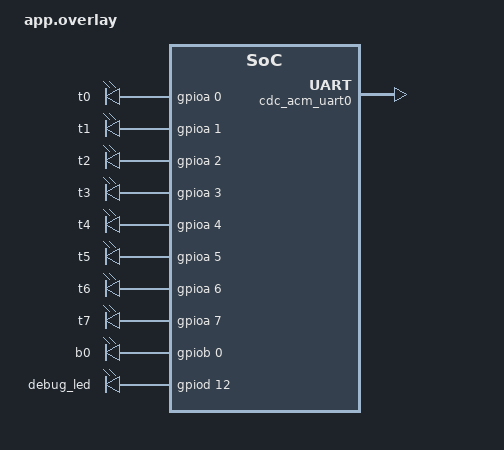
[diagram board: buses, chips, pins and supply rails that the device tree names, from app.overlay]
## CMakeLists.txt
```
cmake_minimum_required(VERSION 3.20.0)

set(BOARD stm32f4_disco)
set(CONF_FILE prj.conf)
find_package(Zephyr)
project(my_zephyr_app)

target_sources(app PRIVATE 
src/main.c 
src/gpio.c
src/task_main.c
src/scheduler.c
src/scheduler_impl.c
src/usb.c
)
```

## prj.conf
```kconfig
CONFIG_CONSOLE=y
CONFIG_PRINTK=y
CONFIG_I2C=y
CONFIG_LOG=y
CONFIG_I2S=y
CONFIG_ADC=y
CONFIG_NEWLIB_LIBC=y
CONFIG_STDOUT_CONSOLE=y
CONFIG_USB_DEVICE_STACK=y
CONFIG_USB_DEVICE_PRODUCT="Zephyr CDC ACM sample"
CONFIG_USB_DEVICE_PID=0x0001
CONFIG_USB_DRIVER_LOG_LEVEL_ERR=y
CONFIG_USB_DEVICE_LOG_LEVEL_ERR=y
CONFIG_SERIAL=y
CONFIG_UART_INTERRUPT_DRIVEN=y
CONFIG_UART_LINE_CTRL=y
```

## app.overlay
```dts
/ {
    leds {
		compatible = "gpio-leds";
		t0: led_0 {
			gpios = <&gpioa 0 GPIO_ACTIVE_HIGH>;
		};
        t1: led_1 {
			gpios = <&gpioa 1 GPIO_ACTIVE_HIGH>;
		};
        t2: led_2 {
			gpios = <&gpioa 2 GPIO_ACTIVE_HIGH>;
		};
		t3: led_3 {
			gpios = <&gpioa 3 GPIO_ACTIVE_HIGH>;
		};
		t4: led_4 {
			gpios = <&gpioa 4 GPIO_ACTIVE_HIGH>;
		};
		t5: led_5 {
			gpios = <&gpioa 5 GPIO_ACTIVE_HIGH>;
		};
		t6: led_6 {
			gpios = <&gpioa 6 GPIO_ACTIVE_HIGH>;
		};
		t7: led_7 {
			gpios = <&gpioa 7 GPIO_ACTIVE_HIGH>;
		};
		b0: led_8 {
            gpios = <&gpiob 0 GPIO_ACTIVE_HIGH>;
        };
		debug_led: led_9 {
            gpios = <&gpiod 12 GPIO_ACTIVE_HIGH>;
        };
	};

    aliases {
        a0 = &t0;
        a1 = &t1;
        a2 = &t2;
		a3 = &t3;
		a4 = &t4;
		a5 = &t5;
		a6 = &t6;
		a7 = &t7;
		b0 = &b0;
		debug-led = &debug_led;
    };
};

&zephyr_udc0 {
	cdc_acm_uart0 {
		compatible = "zephyr,cdc-acm-uart";
	};
};
```

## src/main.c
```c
/*
 * Copyright (c) 2016 Intel Corporation
 *
 * SPDX-License-Identifier: Apache-2.0
 */

#include <zephyr/kernel.h>
#include "gpio.h"
#include "task_main.h"
#include "scheduler_impl.h"
#include "scheduler.h"
#include "usb.h"

int main() {
    init_pins();

    // The provided task set:
    Task tasks[] = {
            spawn_task(4, 20, &a0),
            spawn_task(10, 40, &a1),
            spawn_task(33, 60, &a2),
    };
    run_scheduler(tasks, sizeof(tasks) / sizeof(tasks[0]));

    k_thread_suspend(k_current_get());

    return 0;
}
```

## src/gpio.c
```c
#include <stdbool.h>
#include <zephyr/drivers/gpio.h>
#include <zephyr/logging/log.h>

const struct gpio_dt_spec debug_led = GPIO_DT_SPEC_GET(DT_ALIAS(debug_led), gpios);
const struct gpio_dt_spec a0 = GPIO_DT_SPEC_GET(DT_ALIAS(a0), gpios);
const struct gpio_dt_spec a1 = GPIO_DT_SPEC_GET(DT_ALIAS(a1), gpios);
const struct gpio_dt_spec a2 = GPIO_DT_SPEC_GET(DT_ALIAS(a2), gpios);
const struct gpio_dt_spec a3 = GPIO_DT_SPEC_GET(DT_ALIAS(a3), gpios);
const struct gpio_dt_spec a4 = GPIO_DT_SPEC_GET(DT_ALIAS(a4), gpios);
const struct gpio_dt_spec a5 = GPIO_DT_SPEC_GET(DT_ALIAS(a5), gpios);
const struct gpio_dt_spec a6 = GPIO_DT_SPEC_GET(DT_ALIAS(a6), gpios);
const struct gpio_dt_spec a7 = GPIO_DT_SPEC_GET(DT_ALIAS(a7), gpios);
const struct gpio_dt_spec b0 = GPIO_DT_SPEC_GET(DT_ALIAS(b0), gpios);
const struct gpio_dt_spec *as[] = {&a0, &a1, &a2, &a3, &a4, &a5, &a6, &a7};

int init_pins() {
    init_pin(&debug_led);
    init_pin(&b0);
    for (int i = 0; i < 8; i++) {
        init_pin(as[i]);
    }
    return 0;
}

int init_pin(const struct gpio_dt_spec *pin) {
    if (!gpio_is_ready_dt(pin)) {
        printk("GPIO pin was not ready");
        return -1;
    }

    gpio_pin_configure_dt(pin, GPIO_OUTPUT_ACTIVE);
    gpio_pin_set_dt(pin, false);
    return 0;
}

/// @brief Sets the pin to high
/// @param pin the gpio pin to set.
/// @return 0
int set_pin(const struct gpio_dt_spec *pin) {
    gpio_pin_set_dt(pin, true);
    return 0;
}

/// @brief Sets the pin to low
/// @param pin the gpio pin to unset
/// @return 0
int unset_pin(const struct gpio_dt_spec *pin) {
    gpio_pin_set_dt(pin, false);
    return 0;
}

/// @brief resets all pins to low.
void reset_as() {
    // Set pins correctly
    for (int i = 0; i < sizeof(as) / sizeof(as[0]); i++) {
        unset_pin(as[i]);
    }
}
```

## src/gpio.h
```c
#include <zephyr/drivers/gpio.h>

int init_pins();

int init_pin(const struct gpio_dt_spec *pin);

int set_pin(const struct gpio_dt_spec *pin);

int unset_pin(const struct gpio_dt_spec *pin);

void reset_as();

extern const struct gpio_dt_spec debug_led;
extern const struct gpio_dt_spec a0;
extern const struct gpio_dt_spec a1;
extern const struct gpio_dt_spec a2;
extern const struct gpio_dt_spec a3;
extern const struct gpio_dt_spec a4;
extern const struct gpio_dt_spec a5;
extern const struct gpio_dt_spec a6;
extern const struct gpio_dt_spec a7;
extern const struct gpio_dt_spec b0;
extern const struct gpio_dt_spec *as[8];
```

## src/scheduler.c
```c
#include "scheduler_impl.h"
#include <zephyr/kernel.h>
#include "stdbool.h"
#include "gpio.h"
#include "usb.h"

// Index to indicate which task in the tasks array is active.
static int current_task = 0;

/// This is a very simple scheduler that demonstrates how the provided APIs can be used.
/// The function should call `set_active_task` to select which task should be running.
/// Then, it should return a sleep time in milliseconds, when the scheduler should next be executed.
k_timeout_t example(Task *tasks, int n, bool finished) {
    set_active_task(&tasks[current_task]);
    current_task = (current_task + 1) % n;
    return K_FOREVER;
}

static int start_time = -1;

/// In this function you should write a rate monotonic scheduler.
/// Read the description of the `schedule` function below to read about the properties of this function.
k_timeout_t rate_monotonic(Task *tasks, int n, bool finished) {
    int i;
    int current_time = k_uptime_get();
    // You can initialize the new fields of your tasks here. This only runs the first time.
    if (start_time == -1) {
        start_time = current_time;
        i = 0;
        while (i <= n - 1) {
            tasks[i].next_arrival_time = start_time + tasks[i].period;
            tasks[i].is_finished = false;
            i = i + 1;
        }
    } else if (finished == true && tasks[current_task].next_arrival_time > current_time) {
        tasks[current_task].is_finished = true;
    } else if (finished == true && tasks[current_task].next_arrival_time <= current_time){
        tasks[current_task].next_arrival_time = tasks[current_task].next_arrival_time + tasks[current_task].period;
    }

    i = 0;
    while (i <= n - 1) {
        if (tasks[i].next_arrival_time <= current_time && tasks[i].is_finished == true) {
            tasks[i].next_arrival_time = tasks[i].next_arrival_time + tasks[i].period;
            tasks[i].is_finished = false;
        }
        i = i + 1;
    }

    // select the task with the least period
    int least_period = INT_MAX;
    int temp_task = -1;
    i = 0;
    while (i <= n - 1) {
        if (tasks[i].period <= least_period && tasks[i].is_finished == false) {
            least_period = tasks[i].period;
            temp_task = i;
        }
        i = i + 1;
    }

    i = 0;
    int scheduler_next_awake = INT_MAX;
    while (i <= n - 1) {
        if (temp_task == -1) {
            if (tasks[i].next_arrival_time < scheduler_next_awake) {
                scheduler_next_awake = tasks[i].next_arrival_time;
            }
        } else {
            if (tasks[i].next_arrival_time < scheduler_next_awake && tasks[i].period < tasks[temp_task].period) {
                scheduler_next_awake = tasks[i].next_arrival_time;
            }
        }
        i = i + 1;
    }

    if (temp_task != -1) {
        current_task = temp_task;
        set_active_task(&tasks[current_task]);
    } else {
        set_idle();
    }

    return K_MSEC(scheduler_next_awake - current_time);
}

/// In this function you should write an earliest deadline first scheduler.
/// Read the description of the `schedule` function below to read about the properties of this function.
k_timeout_t earliest_deadline_first(Task *tasks, int n, bool finished) {
    int i;
    int current_time = k_uptime_get();
    // You can initialize the new fields of your tasks here. This only runs the first time.
    if (start_time == -1) {
        start_time = current_time;
        i = 0;
        while (i <= n - 1) {
            tasks[i].next_arrival_time = start_time + tasks[i].period;
            tasks[i].is_finished = false;
            i = i + 1;
        }
    } else if (finished == true && tasks[current_task].next_arrival_time > current_time) {
        tasks[current_task].is_finished = true;
    } else if (finished == true && tasks[current_task].next_arrival_time <= current_time) {
        tasks[current_task].next_arrival_time = tasks[current_task].next_arrival_time + tasks[current_task].period;
    }

    i = 0;
    while (i <= n - 1) {
        if (tasks[i].next_arrival_time <= current_time && tasks[i].is_finished == true) {
            tasks[i].next_arrival_time = tasks[i].next_arrival_time + tasks[i].period;
            tasks[i].is_finished = false;
        }
        i = i + 1;
    }

    // select the task with the least period
    int earliest_deadline = INT_MAX;
    int temp_task = -1;
    i = 0;
    while (i <= n - 1) {
        if (tasks[i].next_arrival_time <= earliest_deadline && tasks[i].is_finished == false) {
            earliest_deadline = tasks[i].next_arrival_time;
            temp_task = i;
        }
        i = i + 1;
    }

    i = 0;
    int scheduler_next_awake = INT_MAX;
    while (i <= n - 1) {
        if (temp_task == -1) {
            if (tasks[i].next_arrival_time < scheduler_next_awake) {
                scheduler_next_awake = tasks[i].next_arrival_time;
            }
        } else {
            if (tasks[i].next_arrival_time < scheduler_next_awake &&
                tasks[i].next_arrival_time + tasks[i].period < tasks[temp_task].next_arrival_time) {
                scheduler_next_awake = tasks[i].next_arrival_time;
            }
        }
        i = i + 1;
    }

    if (temp_task != -1) {
        current_task = temp_task;
        set_active_task(&tasks[current_task]);
    } else {
        set_idle();
    }

    return K_MSEC(scheduler_next_awake - current_time);
}

/// @brief This function can be used to choose which scheduler should be used.
///        This function is invoked when a task is finished or when the scheduler sleep timer has ended.
///        The sleep time is the duration of the timeout which the function returns (see the `\@return` for more information).
///        The called scheduler function should set the next task by calling `set_active_task` or call `set_idle` when there are no pending tasks.
/// @param tasks an array of tasks containing the full task set to schedule.
/// @param n the amount of tasks.
/// @param finished states whether the scheduler was called because a task was finished (true)
///                 or because the scheduler sleep timer expired (false).
/// @return The delay for which the scheduler thread should sleep.
///         You should make the scheduler sleep until a higher priority task is ready (preemption of the current running task)
///         or until there is a task ready to be scheduled when there were no tasks pending.
///         You must calculate this delay and return a k_timeout_t value containing this delay. Learn more about this here: 
///         https://docs.zephyrproject.org/latest/kernel/services/timing/clocks.html. Some of the functions/macros that you might find useful are
///         `K_MSEC`, `K_USEC`, `sys_timepoint_calc` and `sys_timepoint_timeout`.
k_timeout_t schedule(Task *tasks, int n, bool finished) {
    return earliest_deadline_first(tasks, n, finished);
}
```

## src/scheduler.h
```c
k_timeout_t schedule(Task *t, int n, bool finished);
```

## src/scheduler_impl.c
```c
#include <zephyr/kernel.h>
#include <zephyr/logging/log.h>
#include <zephyr/drivers/gpio.h>
#include <zephyr/kernel/thread.h>
#include "gpio.h"
#include "task_main.h"
#include "scheduler_impl.h"
#include "scheduler.h"
#include "stdbool.h"

#define STACK_SIZE 512
#define MAX_THREADS 8

static int thread_counter = 0;
int scheduler_thread = 0;

K_THREAD_STACK_DEFINE(stack0, STACK_SIZE);
K_THREAD_STACK_DEFINE(stack1, STACK_SIZE);
K_THREAD_STACK_DEFINE(stack2, STACK_SIZE);
K_THREAD_STACK_DEFINE(stack3, STACK_SIZE);
K_THREAD_STACK_DEFINE(stack4, STACK_SIZE);
K_THREAD_STACK_DEFINE(stack5, STACK_SIZE);
K_THREAD_STACK_DEFINE(stack6, STACK_SIZE);
K_THREAD_STACK_DEFINE(stack7, STACK_SIZE);

k_thread_stack_t *stacks[MAX_THREADS] = {&stack0, &stack1, &stack2, &stack3, &stack4, &stack5, &stack6, &stack7};
struct k_thread kts[MAX_THREADS];

/// @brief Creates a new instance of a `Task` struct.
/// @param execution_time the execution time in milliseconds
/// @param period the period of the task in milliseconds
/// @param pin the gpio pin assigned to this task, suitable pins can be found in gpio.h
/// @return The created task struct.
Task spawn_task(int execution_time, int period, const struct gpio_dt_spec *pin) {
    Task task;

    task.execution_time = execution_time;
    task.period = period;

    if (thread_counter == MAX_THREADS) {
        printk("Spawned too many threads!");
        return;
    }
    k_thread_stack_t *stack = stacks[thread_counter];
    struct k_thread *thread = &kts[thread_counter];

    k_tid_t tid = k_thread_create(thread, stack, STACK_SIZE, (void *) task_main, (void *) pin, execution_time, 0, 5, 0,
                                  K_NO_WAIT);
    task.task_id = tid;

    thread_counter++;

    k_thread_suspend(tid);

    return task;
}

static k_tid_t current_task = NULL;

/// @brief Dispatches the given task once the scheduler thread suspends. 
///        It suspends the thread of the task running before.
/// @param task The task to be dispatched.
void set_active_task(Task *task) {
    if (current_task != NULL) {
        k_thread_suspend(current_task);
    }
    current_task = task->task_id;
    k_thread_resume(current_task);
}

/// @brief Idles the system.
void set_idle() {
    if (current_task != NULL) {
        k_thread_suspend(current_task);
    }
    current_task = NULL;
}

/// @brief Run the scheduling algorithm on the given tasks.
/// @param tasks The task set to be scheduled as a fixed size array.
/// @param n The number of tasks.
void run_scheduler(Task *tasks, int n) {
    scheduler_thread = k_current_get();
    bool finished = false;
    while (true) {
        reset_as();
        k_timeout_t sleep = schedule(tasks, n, finished);
        finished = k_sleep(sleep) != 0;
    }
}
```

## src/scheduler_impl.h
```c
#include <zephyr/kernel.h>
#include <zephyr/kernel/thread.h>
#include <zephyr/drivers/gpio.h>

extern int scheduler_thread;

/// This represents a Task and all additional information necessary to schedule the task.
typedef struct {
    /// The id assigned to this task by Zephyr. Used internally by `set_active_task`.
    k_tid_t task_id;
    /// The maximal time the task will take to execute in ms.
    int execution_time;
    /// The scheduler should aim to execute this task every `period` ms.
    int period;

    /// Self defined fields
    /// The timestamp of the next arrival time of this task
    int next_arrival_time;
    /// if the task is finished
    bool is_finished;
} Task;

Task spawn_task(int execution_time, int period, const struct gpio_dt_spec *pin);

void set_active_task(Task *task);

void set_idle();

void run_scheduler(Task *tasks, int n);
```

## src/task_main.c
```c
#include <zephyr/kernel.h>
#include <zephyr/drivers/gpio.h>
#include "gpio.h"
#include "scheduler_impl.h"

/// @brief The function the task executes, it set the pin high until it has exceeded its execution time, after which it will invoke the scheduler again.
/// In a realistic situation this function would execute application code and different tasks would execute different code.
/// @param pin The pin to set to high during the task execution.
/// @param execution_time The duration of the task execution.
void task_main(const struct gpio_dt_spec *pin, int execution_time) {
    while(true) {
        int64_t target = k_uptime_get() + execution_time;
        int64_t last = k_uptime_get();
        while (true) {
            // Set leds correctly
            set_pin(pin);

            int64_t current = k_uptime_get();

            // Task was preempted, we don't count this as execution time
            if (current - last > 1) {
                target += (current - last);
            }
            last = current;

            // If this task finished, break the loop
            if (current >= target) {
                break;
            }
        }

        unset_pin(pin);
        k_wakeup(scheduler_thread);
    }
}
```

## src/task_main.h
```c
#include <zephyr/drivers/gpio.h>

void task_main(const struct gpio_dt_spec *pin, int execution_time);
```

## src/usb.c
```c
#include <stdio.h>
#include <stdint.h>
#include <string.h>
#include <stddef.h>
#include <zephyr/device.h>
#include <zephyr/drivers/uart.h>
#include <zephyr/kernel.h>
#include <zephyr/sys/ring_buffer.h>

#include <zephyr/usb/usb_device.h>
#include <zephyr/usb/usbd.h>
#include <zephyr/logging/log.h>

#include <stdarg.h>

LOG_MODULE_REGISTER(cdc_acm_echo, LOG_LEVEL_INF);

#define RING_BUF_SIZE 1024
uint8_t ring_buffer_rx[RING_BUF_SIZE];
struct ring_buf ringbuf_rx;

#define RING_BUF_SIZE 1024
uint8_t ring_buffer_tx[RING_BUF_SIZE];
struct ring_buf ringbuf_tx;

static void interrupt_handler(const struct device *dev, void *user_data)
{
    ARG_UNUSED(user_data);

    while (uart_irq_update(dev) && uart_irq_is_pending(dev)) {
        if (uart_irq_rx_ready(dev)) {
            int recv_len, rb_len;
            uint8_t buffer[64];
            size_t len = MIN(ring_buf_space_get(&ringbuf_rx),
                             sizeof(buffer));

            recv_len = uart_fifo_read(dev, buffer, len);
            if (recv_len < 0) {
                printk("Failed to read UART FIFO");
                recv_len = 0;
            };

            rb_len = ring_buf_put(&ringbuf_rx, buffer, recv_len);
            if (rb_len < recv_len) {
                printk("Drop %u bytes", recv_len - rb_len);
            }
        }

        if (uart_irq_tx_ready(dev)) {
            uint8_t buffer[64];
            int rb_len, send_len;

            rb_len = ring_buf_get(&ringbuf_tx, buffer, sizeof(buffer));
            if (!rb_len) {
                printk("Ring buffer empty, disable TX IRQ");
                uart_irq_tx_disable(dev);
                continue;
            }

            send_len = uart_fifo_fill(dev, buffer, rb_len);
            if (send_len < rb_len) {
                printk("Drop %d bytes", rb_len - send_len);
            }
        }
    }
}

const struct device *dev;

int init_usb() {
    int ret;

    dev = DEVICE_DT_GET_ONE(zephyr_cdc_acm_uart);
    if (!device_is_ready(dev)) {
        printk("CDC ACM device not ready");
        return -1;
    }

    ret = usb_enable(NULL);

    if (ret != 0) {
        printk("Failed to enable USB");
        return -1;
    }

    ring_buf_init(&ringbuf_tx, sizeof(ring_buffer_tx), ring_buffer_tx);
    ring_buf_init(&ringbuf_rx, sizeof(ring_buffer_rx), ring_buffer_rx);

    uart_irq_callback_set(dev, interrupt_handler);

    /* Enable rx interrupts */
    uart_irq_rx_enable(dev);

    return 0;
}

void wait_for_usb() {
    while (true) {
        uint32_t dtr = 0U;
        uart_line_ctrl_get(dev, UART_LINE_CTRL_DTR, &dtr);
        if (dtr) {
            break;
        } else {
            /* Give CPU resources to low priority threads. */
            k_sleep(K_MSEC(100));
        }
    }

    /* Wait 100ms for the host to do all settings */
    k_msleep(100);
}

/// @return Amount of bytes written to data.
int usb_read_bytes(uint8_t *data, uint32_t size) {
    return ring_buf_get(&ringbuf_rx, data, size);
}

/// @return Amount of bytes written to uart.
int usb_write_bytes(const uint8_t *data, uint32_t size) {
    int res = ring_buf_put(&ringbuf_tx, data, size);
    uart_irq_tx_enable(dev);
    return res;
}

int usb_rx_buffer_len() {
    return ring_buf_size_get(&ringbuf_rx);
}

int usb_tx_buffer_len() {
    return ring_buf_size_get(&ringbuf_tx);
}

int printu(char *format, ...) {
    va_list args;
    va_start(args, format);

    char buffer[256];
    int count = vsnprintf(&buffer, 256, format, args);
    int res = usb_write_bytes(&buffer, count);

    va_end(args);

    return res;
}

int printuln(char *format, ...) {
    va_list args;
    va_start(args, format);

    char buffer[256];
    int count = vsnprintf(&buffer, 256, format, args);
    int res = usb_write_bytes(&buffer, count);
    res += usb_write_bytes("\r\n", 2);

    va_end(args);

    return res;
}
```

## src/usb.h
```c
#include <stdint.h>

int init_usb();
void wait_for_usb();
int usb_rx_buffer_len();
int usb_read_bytes(uint8_t *data, uint32_t size);
int usb_tx_buffer_len();
int usb_write_bytes(const uint8_t *data, uint32_t size);
int printu(char *format, ...);
int printuln(char *format, ...);
```
